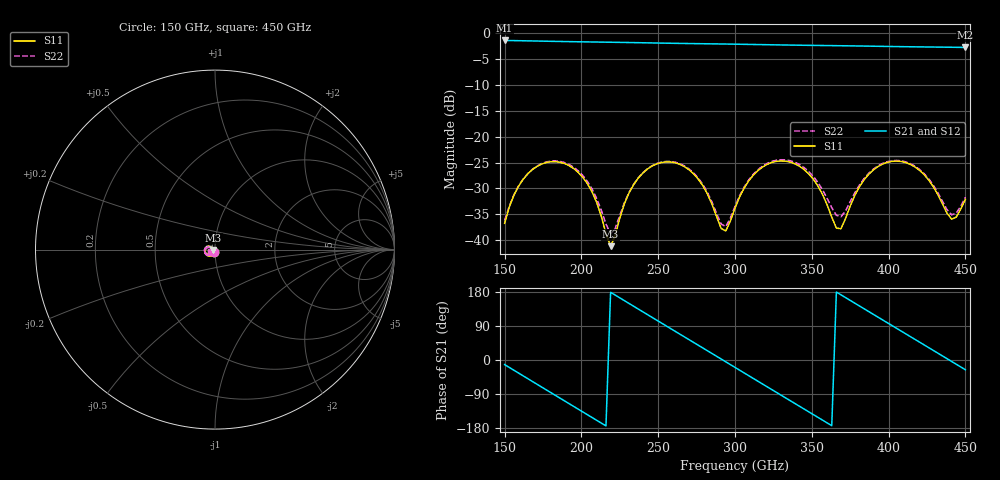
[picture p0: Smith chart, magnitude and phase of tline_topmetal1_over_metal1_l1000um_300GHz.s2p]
#  GHZ S DB R 50
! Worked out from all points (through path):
!   101 points, 150 GHz to 450 GHz, reference 50 ohm
!   highest |S21| = -1.49 dB at 150 GHz (marker M1); lowest = -2.8 dB at 450 GHz (marker M2)
!   group delay of S21, straight-line fit = 6.79 ps
!   lowest |S11| = -41.1 dB at 219 GHz (marker M3), VSWR 1.02, Z = 49.2 - j0.2 ohm
!   |S11| at or under -10 dB: start of sweep to end of sweep
!   |S22| runs from -38.7 to -24.5 dB; largest |S21 - S12| = 9.7e-14
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150  -36.72 -108.5  -1.49 -12.1  -1.49 -12.1  -36.18 -119.8
162  -28.26 -118.9  -1.55 -41.6  -1.55 -41.6  -28.22 -121.5
177  -25.01 -150.3  -1.64 -78.5  -1.64 -78.5  -24.90 -150.0
189  -25.20 -176.4  -1.70 -107.9  -1.70 -107.9  -25.01 -174.7
201  -27.89 159.7  -1.76 -137.2  -1.76 -137.2  -27.54 163.0
219  -41.11 -166.6  -1.83 178.7  -1.83 178.7  -38.71 -169.7
234  -29.26 -123.6  -1.90 141.9  -1.90 141.9  -29.20 -126.3
252  -25.01 -157.3  -2.00 97.8  -2.00 97.8  -24.93 -157.1
264  -25.34 178.4  -2.06 68.5  -2.06 68.5  -25.22 179.8
279  -29.45 153.7  -2.12 31.9  -2.12 31.9  -29.20 156.5
291  -37.71 174.2  -2.17 2.5  -2.17 2.5  -36.86 176.8
300  -33.78 -130.5  -2.21 -19.5  -2.21 -19.5  -33.45 -131.1
312  -27.41 -137.2  -2.27 -48.9  -2.27 -48.9  -27.24 -135.8
327  -24.77 -164.4  -2.34 -85.5  -2.34 -85.5  -24.56 -161.5
351  -28.22 152.5  -2.44 -144.0  -2.44 -144.0  -27.69 158.6
369  -37.75 -161.0  -2.51 172.0  -2.51 172.0  -35.44 -165.5
384  -28.35 -137.1  -2.57 135.3  -2.57 135.3  -28.11 -140.3
402  -24.79 -167.4  -2.66 91.4  -2.66 91.4  -24.66 -167.2
414  -25.34 170.7  -2.71 62.1  -2.71 62.1  -25.20 172.1
429  -29.61 151.2  -2.76 25.6  -2.76 25.6  -29.33 154.2
441  -35.90 179.7  -2.80 -3.7  -2.80 -3.7  -35.07 -178.4
450  -32.10 -142.2  -2.83 -25.7  -2.83 -25.7  -31.70 -142.7
